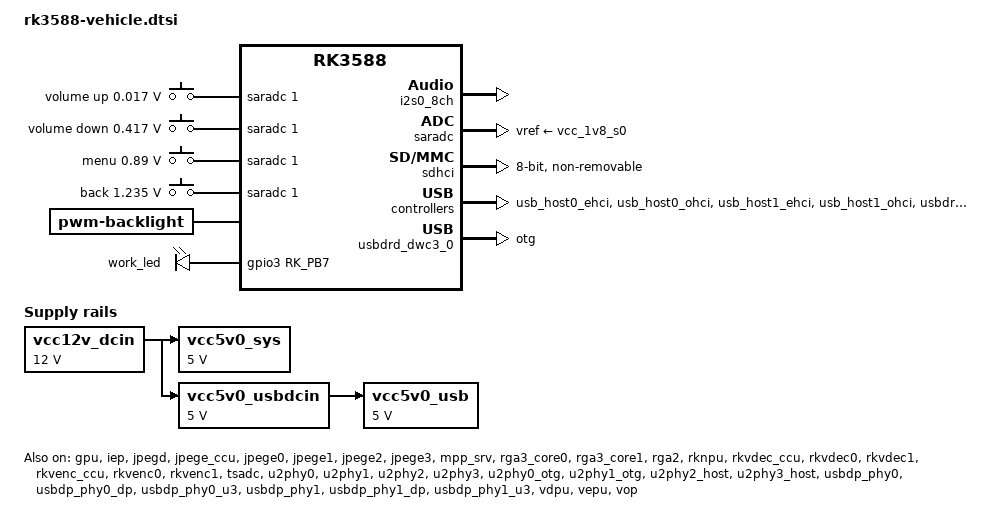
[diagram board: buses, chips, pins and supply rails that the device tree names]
// SPDX-License-Identifier: (GPL-2.0+ OR MIT)
/*
 * Copyright (c) 2021 Rockchip Electronics Co., Ltd.
 *
 */

#include <dt-bindings/gpio/gpio.h>
#include <dt-bindings/pwm/pwm.h>
#include <dt-bindings/pinctrl/rockchip.h>
#include <dt-bindings/input/rk-input.h>
#include <dt-bindings/display/drm_mipi_dsi.h>
#include <dt-bindings/display/rockchip_vop.h>
#include <dt-bindings/sensor-dev.h>

/ {
	adc_keys: adc-keys {
		compatible = "adc-keys";
		io-channels = <&saradc 1>;
		io-channel-names = "buttons";
		keyup-threshold-microvolt = <1800000>;
		poll-interval = <100>;

		vol-up-key {
			label = "volume up";
			linux,code = <KEY_VOLUMEUP>;
			press-threshold-microvolt = <17000>;
		};

		vol-down-key {
			label = "volume down";
			linux,code = <KEY_VOLUMEDOWN>;
			press-threshold-microvolt = <417000>;
		};

		menu-key {
			label = "menu";
			linux,code = <KEY_MENU>;
			press-threshold-microvolt = <890000>;
		};

		back-key {
			label = "back";
			linux,code = <KEY_BACK>;
			press-threshold-microvolt = <1235000>;
		};
	};

	backlight: backlight {
		compatible = "pwm-backlight";
		brightness-levels = <
			  0  20  20  21  21  22  22  23
			 23  24  24  25  25  26  26  27
			 27  28  28  29  29  30  30  31
			 31  32  32  33  33  34  34  35
			 35  36  36  37  37  38  38  39
			 40  41  42  43  44  45  46  47
			 48  49  50  51  52  53  54  55
			 56  57  58  59  60  61  62  63
			 64  65  66  67  68  69  70  71
			 72  73  74  75  76  77  78  79
			 80  81  82  83  84  85  86  87
			 88  89  90  91  92  93  94  95
			 96  97  98  99 100 101 102 103
			104 105 106 107 108 109 110 111
			112 113 114 115 116 117 118 119
			120 121 122 123 124 125 126 127
			128 129 130 131 132 133 134 135
			136 137 138 139 140 141 142 143
			144 145 146 147 148 149 150 151
			152 153 154 155 156 157 158 159
			160 161 162 163 164 165 166 167
			168 169 170 171 172 173 174 175
			176 177 178 179 180 181 182 183
			184 185 186 187 188 189 190 191
			192 193 194 195 196 197 198 199
			200 201 202 203 204 205 206 207
			208 209 210 211 212 213 214 215
			216 217 218 219 220 221 222 223
			224 225 226 227 228 229 230 231
			232 233 234 235 236 237 238 239
			240 241 242 243 244 245 246 247
			248 249 250 251 252 253 254 255
		>;
		default-brightness-level = <200>;
	};

	hdmi0_sound: hdmi0-sound {
		status = "disabled";
		compatible = "rockchip,hdmi";
		rockchip,mclk-fs = <128>;
		rockchip,card-name = "rockchip-hdmi0";
		rockchip,cpu = <&i2s5_8ch>;
		rockchip,codec = <&hdmi0>;
		rockchip,jack-det;
	};

	hdmi1_sound: hdmi1-sound {
		status = "disabled";
		compatible = "rockchip,hdmi";
		rockchip,mclk-fs = <128>;
		rockchip,card-name = "rockchip-hdmi1";
		rockchip,cpu = <&i2s6_8ch>;
		rockchip,codec = <&hdmi1>;
		rockchip,jack-det;
	};

	dp0_sound: dp0-sound {
		status = "disabled";
		compatible = "rockchip,hdmi";
		rockchip,card-name= "rockchip,dp0";
		rockchip,mclk-fs = <512>;
		rockchip,cpu = <&spdif_tx2>;
		rockchip,codec = <&dp0 1>;
		rockchip,jack-det;
	};

	dp1_sound: dp1-sound {
		status = "disabled";
		compatible = "rockchip,hdmi";
		rockchip,card-name= "rockchip,dp1";
		rockchip,mclk-fs = <512>;
		rockchip,cpu = <&spdif_tx5>;
		rockchip,codec = <&dp1 1>;
		rockchip,jack-det;
	};

	leds: leds {
		compatible = "gpio-leds";
		work_led: work {
			gpios = <&gpio3 RK_PB7 GPIO_ACTIVE_HIGH>;
			linux,default-trigger = "heartbeat";
		};
	};

	spdif_tx1_dc: spdif-tx1-dc {
		status = "disabled";
		compatible = "linux,spdif-dit";
		#sound-dai-cells = <0>;
	};

	spdif_tx1_sound: spdif-tx1-sound {
		status = "disabled";
		compatible = "simple-audio-card";
		simple-audio-card,name = "rockchip,spdif-tx1";
		simple-audio-card,cpu {
			sound-dai = <&spdif_tx1>;
		};
		simple-audio-card,codec {
			sound-dai = <&spdif_tx1_dc>;
		};
	};

	test-power {
		status = "okay";
	};

	vcc12v_dcin: vcc12v-dcin {
		compatible = "regulator-fixed";
		regulator-name = "vcc12v_dcin";
		regulator-always-on;
		regulator-boot-on;
		regulator-min-microvolt = <12000000>;
		regulator-max-microvolt = <12000000>;
	};

	vcc5v0_sys: vcc5v0-sys {
		compatible = "regulator-fixed";
		regulator-name = "vcc5v0_sys";
		regulator-always-on;
		regulator-boot-on;
		regulator-min-microvolt = <5000000>;
		regulator-max-microvolt = <5000000>;
		vin-supply = <&vcc12v_dcin>;
	};

	vcc5v0_usbdcin: vcc5v0-usbdcin {
		compatible = "regulator-fixed";
		regulator-name = "vcc5v0_usbdcin";
		regulator-always-on;
		regulator-boot-on;
		regulator-min-microvolt = <5000000>;
		regulator-max-microvolt = <5000000>;
		vin-supply = <&vcc12v_dcin>;
	};

	vcc5v0_usb: vcc5v0-usb {
		compatible = "regulator-fixed";
		regulator-name = "vcc5v0_usb";
		regulator-always-on;
		regulator-boot-on;
		regulator-min-microvolt = <5000000>;
		regulator-max-microvolt = <5000000>;
		vin-supply = <&vcc5v0_usbdcin>;
	};
};

&av1d_mmu {
	status = "okay";
};

&cpu_l0 {
	cpu-supply = <&vdd_cpu_lit_s0>;
	mem-supply = <&vdd_cpu_lit_mem_s0>;
};

&cpu_b0 {
	cpu-supply = <&vdd_cpu_big0_s0>;
	mem-supply = <&vdd_cpu_big0_mem_s0>;
};

&cpu_b2 {
	cpu-supply = <&vdd_cpu_big1_s0>;
	mem-supply = <&vdd_cpu_big1_mem_s0>;
};

&gpu {
	mali-supply = <&vdd_gpu_s0>;
	mem-supply = <&vdd_gpu_mem_s0>;
	status = "okay";
};

&i2s0_8ch {
	status = "okay";
	pinctrl-0 = <&i2s0_lrck
		     &i2s0_sclk
		     &i2s0_sdi0
		     &i2s0_sdo0>;
};

&iep {
	status = "okay";
};

&iep_mmu {
	status = "okay";
};

&jpegd {
	status = "okay";
};

&jpegd_mmu {
	status = "okay";
};

&jpege_ccu {
	status = "okay";
};

&jpege0 {
	status = "okay";
};

&jpege0_mmu {
	status = "okay";
};

&jpege1 {
	status = "okay";
};

&jpege1_mmu {
	status = "okay";
};

&jpege2 {
	status = "okay";
};

&jpege2_mmu {
	status = "okay";
};

&jpege3 {
	status = "okay";
};

&jpege3_mmu {
	status = "okay";
};

&mpp_srv {
	status = "okay";
};

&rga3_core0 {
	status = "okay";
};

&rga3_0_mmu {
	status = "okay";
};

&rga3_core1 {
	status = "okay";
};

&rga3_1_mmu {
	status = "okay";
};

&rga2 {
	status = "okay";
};

&rknpu {
	rknpu-supply = <&vdd_npu_s0>;
	mem-supply = <&vdd_npu_mem_s0>;
	status = "okay";
};

&rknpu_mmu {
	status = "okay";
};

&rkvdec_ccu {
	status = "okay";
};

&rkvdec0 {
	status = "okay";
};

&rkvdec0_mmu {
	status = "okay";
};

&rkvdec1 {
	status = "okay";
};

&rkvdec1_mmu {
	status = "okay";
};

&rkvenc_ccu {
	status = "okay";
};

&rkvenc0 {
	status = "okay";
};

&rkvenc0_mmu {
	status = "okay";
};

&rkvenc1 {
	status = "okay";
};

&rkvenc1_mmu {
	status = "okay";
};

&rockchip_suspend {
	status = "okay";
	rockchip,sleep-debug-en = <1>;
};

&saradc {
	status = "okay";
	vref-supply = <&vcc_1v8_s0>;
};

&sdhci {
	bus-width = <8>;
	no-sdio;
	no-sd;
	non-removable;
	max-frequency = <200000000>;
	mmc-hs400-1_8v;
	mmc-hs400-enhanced-strobe;
	status = "okay";
};

&sdmmc {
	max-frequency = <150000000>;
	no-sdio;
	no-mmc;
	bus-width = <4>;
	cap-mmc-highspeed;
	cap-sd-highspeed;
	disable-wp;
	sd-uhs-sdr104;
	vqmmc-supply = <&vccio_sd_s0>;
	status = "disabled";
};

&tsadc {
	status = "okay";
};

&u2phy0 {
	status = "okay";
};

&u2phy1 {
	status = "okay";
};

&u2phy2 {
	status = "okay";
};

&u2phy3 {
	status = "okay";
};

&u2phy0_otg {
	status = "okay";
};

&u2phy1_otg {
	status = "okay";
};

&u2phy2_host {
	status = "okay";
};

&u2phy3_host {
	status = "okay";
};

&usb_host0_ehci {
	status = "okay";
};

&usb_host0_ohci {
	status = "okay";
};

&usb_host1_ehci {
	status = "okay";
};

&usb_host1_ohci {
	status = "okay";
};

&usbdp_phy0 {
	status = "okay";
};

&usbdp_phy0_dp {
	status = "okay";
};

&usbdp_phy0_u3 {
	status = "okay";
};

&usbdp_phy1 {
	status = "okay";
};

&usbdp_phy1_dp {
	status = "okay";
};

&usbdp_phy1_u3 {
	status = "okay";
};

&usbdrd3_0 {
	status = "okay";
};

&usbdrd_dwc3_0 {
	dr_mode = "otg";
	status = "okay";
};

&usbhost3_0 {
	status = "okay";
};

&usbhost_dwc3_0 {
	status = "okay";
};

&usbdrd3_1 {
	status = "okay";
};

&usbdrd_dwc3_1 {
	status = "okay";
};

&vdpu {
	status = "okay";
};

&vdpu_mmu {
	status = "okay";
};

&vepu {
	status = "okay";
};

&vop {
	status = "okay";
};

&vop_mmu {
	status = "okay";
};

/* vp0 & vp1 splice for 8K output */
&vp0 {
	rockchip,plane-mask = <(1 << ROCKCHIP_VOP2_CLUSTER0 | 1 << ROCKCHIP_VOP2_ESMART0)>;
	rockchip,primary-plane = <ROCKCHIP_VOP2_ESMART0>;
};

&vp1 {
	rockchip,plane-mask = <(1 << ROCKCHIP_VOP2_CLUSTER1 | 1 << ROCKCHIP_VOP2_ESMART1)>;
	rockchip,primary-plane = <ROCKCHIP_VOP2_ESMART1>;
};

&vp2 {
	rockchip,plane-mask = <(1 << ROCKCHIP_VOP2_CLUSTER2 | 1 << ROCKCHIP_VOP2_ESMART2)>;
	rockchip,primary-plane = <ROCKCHIP_VOP2_ESMART2>;
};

&vp3 {
	rockchip,plane-mask = <(1 << ROCKCHIP_VOP2_CLUSTER3 | 1 << ROCKCHIP_VOP2_ESMART3)>;
	rockchip,primary-plane = <ROCKCHIP_VOP2_ESMART3>;
};
